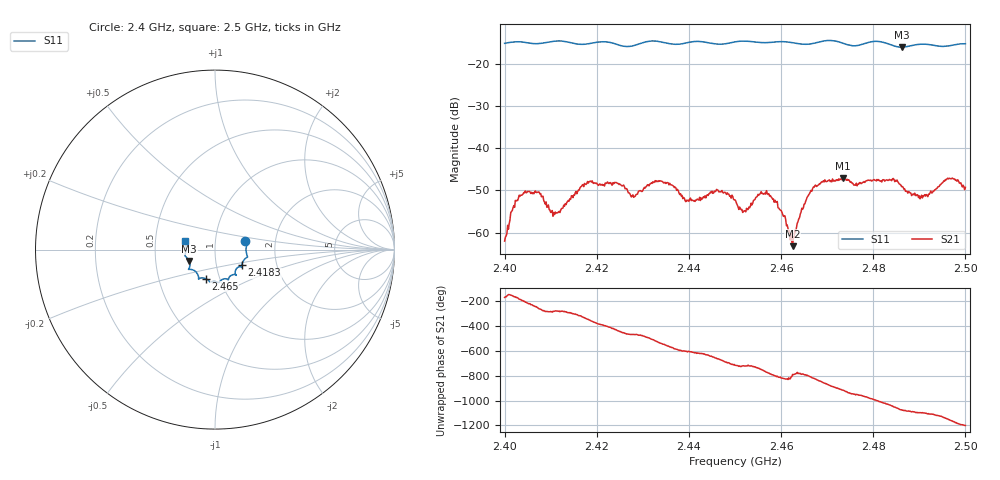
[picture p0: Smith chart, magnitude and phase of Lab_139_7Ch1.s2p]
# Hz S RI R 50
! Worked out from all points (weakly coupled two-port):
!   601 points, 2.4 GHz to 2.5 GHz, reference 50 ohm
!   highest |S21| = -47.05 dB at 2.4735 GHz (marker M1); lowest = -63.2 dB at 2.4625 GHz (marker M2)
!   lowest |S11| = -16.1 dB at 2.4862 GHz (marker M3), VSWR 1.37, Z = 37.2 - j4.87 ohm
!   |S11| at or under -10 dB: start of sweep to end of sweep
!   S12 and S22 are empty: the file has one direction only
!   S11 on the Smith chart (normalised r, x): 2.4 GHz: 1.40, +0.13; 2.4183 GHz: 1.33, -0.24; 2.465 GHz: 0.86, -0.29; 2.5 GHz: 0.71, +0.07
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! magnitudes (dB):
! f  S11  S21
! 2.4 GHz  -15.2  -62.0
! 2.4018 GHz  -14.9  -54.1
! 2.404 GHz  -14.9  -50.9
! 2.4073 GHz  -15.2  -50.4
! 2.411 GHz  -14.7  -55.1
! 2.4167 GHz  -15.4  -49.1
! 2.4183 GHz  -15.2  -48.0
! 2.4278 GHz  -15.8  -51.1
! 2.4333 GHz  -14.7  -47.9
! 2.4395 GHz  -15.1  -52.3
! 2.45 GHz  -14.8  -52.2
! 2.4522 GHz  -14.7  -54.8
! 2.4573 GHz  -15.0  -50.8
! 2.4625 GHz  -15.0  -63.2
! 2.465 GHz  -15.4  -53.3
! 2.4667 GHz  -15.3  -50.2
! 2.4735 GHz  -15.2  -47.1
! 2.4833 GHz  -15.3  -47.6
! 2.4862 GHz  -16.1  -49.1
! 2.4903 GHz  -15.4  -51.5
! 2.4962 GHz  -15.8  -47.1
! 2.5 GHz  -15.3  -49.3
